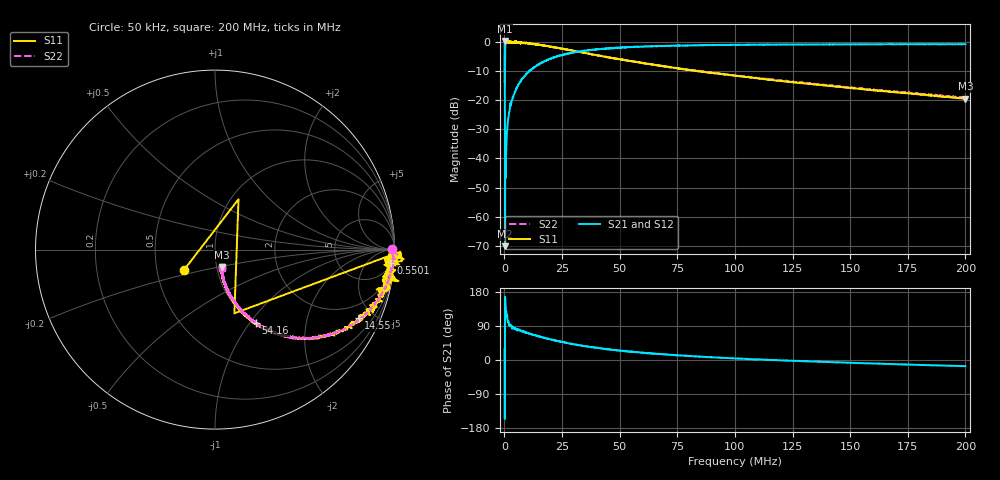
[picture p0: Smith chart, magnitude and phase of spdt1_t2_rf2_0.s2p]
! 26-Feb-26 10:37:53 AM
! E:\VNA_MEASUREMENTS\SPDT1\SPDT1_T2_RF2_0.S2P
! CHANNEL.1
! TR.MEASUREMENT
! CORRECTED.DATA
# GHZ S RI R 50.0
! FREQ.GHZ  S11RE  S11IM  S21RE  S21IM  S12RE  S12IM  S22RE  S22IM
!; PortSelection: Port_12
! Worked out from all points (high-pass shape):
!   2000 points, 50 kHz to 200 MHz, reference 50 ohm
!   highest |S21| = 0.23 dB at 150 kHz (marker M1); lowest = -70.1 dB at 250 kHz (marker M2)
!   |S21| within 3 dB of the highest: 120.9 kHz to 154.3 kHz (33.37 kHz wide, 24.3 % of centre); 38.59 MHz to end of sweep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
!   lowest |S11| = -19.5 dB at 200 MHz (marker M3), VSWR 1.24, Z = 52.7 - j10.6 ohm
!   |S11| at or under -10 dB: start of sweep to 161.4 kHz; 82.76135 MHz to 82.88752 MHz (126.2 kHz wide, 0.152 % of centre); 83.35 MHz to end of sweep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
!   |S22| runs from -19.3 to 0.1 dB; largest |S21 - S12| = 1
!   S11 on the Smith chart (normalised r, x): 50 kHz: 0.69, -0.16; 550.1 kHz: 6, -25; 14.55 MHz: 1.14, -4.11; 54.16 MHz: 1.02, -1.08; 200 MHz: 1.05, -0.21
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5e-05  -0.1726 -0.1133  0.2752 0.15  0.004 -8.29e-05  0.985 0.00359
0.000150025  0.131 0.2807  -0.9347 -0.4264  7.45e-05 0.00109  0.9955 0.00507
0.00025005  0.1081 -0.355  -0.000305 7.24e-05  0.00211 0.00451  1.002 -0.0141
0.000550125  0.9794 -0.0729  -0.00619 0.00524  -0.00113 0.0156  1.004 -0.0171
0.001150275  1.052 -0.054  -0.0145 0.0265  -0.00226 0.0344  0.9913 -0.0265
0.0012503  0.9687 -0.0305  -0.0102 0.0336  -0.000711 0.0353  0.9931 -0.0474
0.001350325  0.9974 -0.0712  -0.00945 0.0354  -0.0011 0.0399  0.9831 -0.051
0.001550375  1.017 -0.0832  -0.00746 0.0475  -0.000251 0.0469  1.002 -0.0537
0.0020505  0.9607 -0.053  -0.00482 0.0621  0.000834 0.0618  0.9945 -0.0753
0.002950725  0.9434 -0.0851  0.00146 0.0885  0.0041 0.0883  0.9885 -0.0954
0.004051001  0.9506 -0.1591  0.0146 0.1228  0.0134 0.1205  0.9737 -0.1292
0.006051501  0.9542 -0.1908  0.037 0.1819  0.0332 0.1806  0.9596 -0.1923
0.008352076  0.9316 -0.2594  0.0656 0.2421  0.0669 0.2409  0.9251 -0.2568
0.01455363  0.8006 -0.383  0.1807 0.3574  0.1822 0.3628  0.8063 -0.3895
0.02295573  0.6278 -0.4733  0.3596 0.4332  0.3665 0.4379  0.6265 -0.478
0.03345835  0.4384 -0.4905  0.5502 0.4217  0.5424 0.4249  0.439 -0.495
0.05416353  0.2286 -0.4109  0.748 0.3044  0.7449 0.3103  0.2345 -0.4086
0.06676668  0.1618 -0.3572  0.8081 0.2355  0.8121 0.2361  0.1659 -0.36
0.100075  0.0788 -0.2513  0.8865 0.0615  0.8829 0.0618  0.0835 -0.2545
0.1333833  0.0499 -0.1815  0.8969 -0.0606  0.8939 -0.0588  0.0531 -0.1833
0.1666917  0.0384 -0.1346  0.8897 -0.1642  0.8912 -0.164  0.0411 -0.1362
0.2  0.0365 -0.0995  0.8727 -0.2522  0.8673 -0.2552  0.0384 -0.1049
